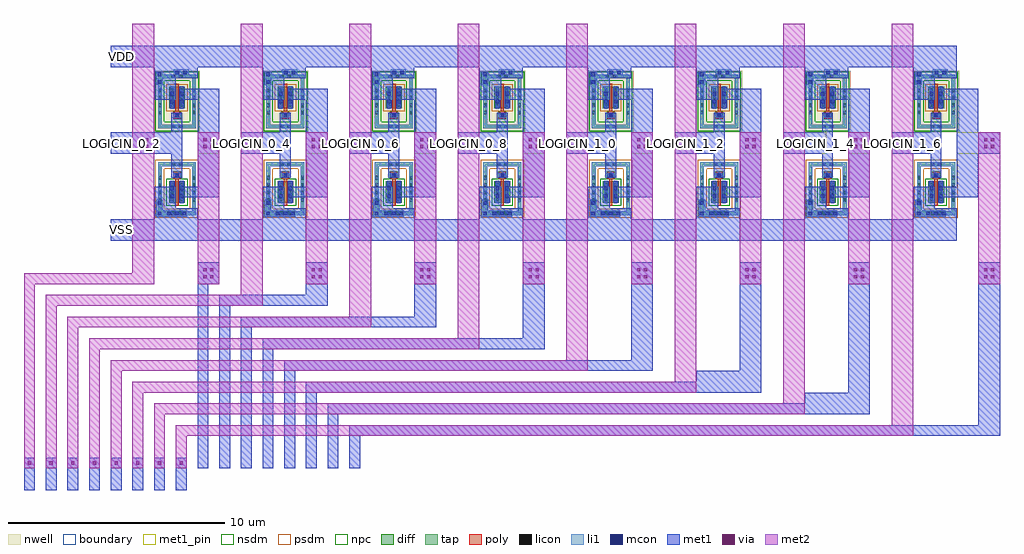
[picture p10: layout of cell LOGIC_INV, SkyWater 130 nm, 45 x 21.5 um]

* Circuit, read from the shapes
.subckt LOGIC_INV LOGICIN_0_2 LOGICIN_0_4 LOGICIN_0_6 LOGICIN_0_8 LOGICIN_1_0 LOGICIN_1_2 LOGICIN_1_4 LOGICIN_1_6 VDD VSS Z_LOGICIN_0_2 Z_LOGICIN_0_4 Z_LOGICIN_0_6 Z_LOGICIN_0_8 Z_LOGICIN_1_0 Z_LOGICIN_1_2 Z_LOGICIN_1_4 Z_LOGICIN_1_6
XM1 Z_LOGICIN_0_2 LOGICIN_0_2 VSS VSS sky130_fd_pr__nfet_01v8 w=1 l=0.15
XM2 Z_LOGICIN_0_4 LOGICIN_0_4 VSS VSS sky130_fd_pr__nfet_01v8 w=1 l=0.15
XM3 Z_LOGICIN_0_6 LOGICIN_0_6 VSS VSS sky130_fd_pr__nfet_01v8 w=1 l=0.15
XM4 Z_LOGICIN_0_8 LOGICIN_0_8 VSS VSS sky130_fd_pr__nfet_01v8 w=1 l=0.15
XM5 Z_LOGICIN_1_0 LOGICIN_1_0 VSS VSS sky130_fd_pr__nfet_01v8 w=1 l=0.15
XM6 Z_LOGICIN_1_2 LOGICIN_1_2 VSS VSS sky130_fd_pr__nfet_01v8 w=1 l=0.15
XM7 Z_LOGICIN_1_4 LOGICIN_1_4 VSS VSS sky130_fd_pr__nfet_01v8 w=1 l=0.15
XM8 Z_LOGICIN_1_6 LOGICIN_1_6 VSS VSS sky130_fd_pr__nfet_01v8 w=1 l=0.15
XM9 Z_LOGICIN_0_2 LOGICIN_0_2 VDD VDD sky130_fd_pr__pfet_01v8 w=1 l=0.15
XM10 Z_LOGICIN_0_4 LOGICIN_0_4 VDD VDD sky130_fd_pr__pfet_01v8 w=1 l=0.15
XM11 Z_LOGICIN_0_6 LOGICIN_0_6 VDD VDD sky130_fd_pr__pfet_01v8 w=1 l=0.15
XM12 Z_LOGICIN_0_8 LOGICIN_0_8 VDD VDD sky130_fd_pr__pfet_01v8 w=1 l=0.15
XM13 Z_LOGICIN_1_0 LOGICIN_1_0 VDD VDD sky130_fd_pr__pfet_01v8 w=1 l=0.15
XM14 Z_LOGICIN_1_2 LOGICIN_1_2 VDD VDD sky130_fd_pr__pfet_01v8 w=1 l=0.15
XM15 Z_LOGICIN_1_4 LOGICIN_1_4 VDD VDD sky130_fd_pr__pfet_01v8 w=1 l=0.15
XM16 Z_LOGICIN_1_6 LOGICIN_1_6 VDD VDD sky130_fd_pr__pfet_01v8 w=1 l=0.15
.ends

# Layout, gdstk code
import gdstk
lib = gdstk.Library(unit=1e-6, precision=1e-09)
def R(c, l, rs):  # rectangles x0, y0, x1, y1
    for r in rs: c.add(gdstk.rectangle(r[:2], r[2:], *l))
def A(c, l, x, y, w, h, nx, ny, dx, dy):  # array of equal rectangles
    R(c, l, [(x+i*dx, y+j*dy, x+i*dx+w, y+j*dy+h) for i in range(nx) for j in range(ny)])
nwell = (64, 20)
diff = (65, 20)
tap = (65, 44)
poly = (66, 20)
licon = (66, 44)
li1 = (67, 20)
mcon = (67, 44)
met1_pin = (68, 16)
met1 = (68, 20)
via = (68, 44)
met2 = (69, 20)
nsdm = (93, 44)
psdm = (94, 20)
npc = (95, 20)
boundary = (235, 4)

sky130_fd_pr__nfet_01v8_ = lib.new_cell('sky130_fd_pr__nfet_01v8_64Z3AY')
R(sky130_fd_pr__nfet_01v8_, diff, [(-0.365,-0.655,0.365,0.345)])
R(sky130_fd_pr__nfet_01v8_, tap, [(-0.875,-1.215,0.875,-1.045), (-0.875,-1.045,-0.705,1.045), (0.705,-1.045,0.875,1.045), (-0.875,1.045,0.875,1.215)])
R(sky130_fd_pr__nfet_01v8_, poly, [(-0.075,-0.785,0.075,0.455), (-0.165,0.455,0.165,0.785)])
A(sky130_fd_pr__nfet_01v8_, licon, -0.875, -0.595, 0.17, 0.17, 1, 4, 0, 0.34)
A(sky130_fd_pr__nfet_01v8_, licon, 0.705, -0.595, 0.17, 0.17, 1, 4, 0, 0.34)
A(sky130_fd_pr__nfet_01v8_, licon, -0.305, -0.58, 0.17, 0.17, 1, 3, 0, 0.34)
A(sky130_fd_pr__nfet_01v8_, licon, 0.135, -0.58, 0.17, 0.17, 1, 3, 0, 0.34)
R(sky130_fd_pr__nfet_01v8_, licon, [(-0.255,-1.215,-0.085,-1.045), (0.085,-1.215,0.255,-1.045), (-0.085,0.535,0.085,0.705), (-0.255,1.045,-0.085,1.215), (0.085,1.045,0.255,1.215)])
R(sky130_fd_pr__nfet_01v8_, li1, [(-0.875,-1.215,0.875,-1.045), (-0.875,-1.045,-0.705,1.045), (0.705,-1.045,0.875,1.045), (-0.305,-0.675,-0.135,0.365), (0.135,-0.675,0.305,0.365), (-0.165,0.535,0.165,0.705), (-0.875,1.045,0.875,1.215)])
R(sky130_fd_pr__nfet_01v8_, mcon, [(-0.305,-0.42,-0.135,-0.25), (0.135,-0.42,0.305,-0.25), (-0.305,-0.06,-0.135,0.11), (0.135,-0.06,0.305,0.11), (-0.085,0.535,0.085,0.705)])
R(sky130_fd_pr__nfet_01v8_, met1, [(-0.335,-0.655,-0.105,0.345), (0.105,-0.655,0.335,0.345), (-0.145,0.505,0.145,0.735)])
R(sky130_fd_pr__nfet_01v8_, nsdm, [(-0.49,-0.78,0.49,0.47)])
R(sky130_fd_pr__nfet_01v8_, psdm, [(-1,-1.34,1,-0.92), (-1,-0.92,-0.58,0.92), (0.58,-0.92,1,0.92), (-1,0.92,1,1.34)])
R(sky130_fd_pr__nfet_01v8_, npc, [(-0.185,0.435,0.185,0.805)])
R(sky130_fd_pr__nfet_01v8_, boundary, [(-0.79,-1.13,0.79,1.13)])

sky130_fd_pr__pfet_01v8_ = lib.new_cell('sky130_fd_pr__pfet_01v8_LGS3BL')
R(sky130_fd_pr__pfet_01v8_, nwell, [(-1.055,-1.42,1.055,1.42)])
R(sky130_fd_pr__pfet_01v8_, diff, [(-0.365,-0.32,0.365,0.68)])
R(sky130_fd_pr__pfet_01v8_, tap, [(-0.875,-1.24,0.875,-1.07), (-0.875,-1.07,-0.705,1.07), (0.705,-1.07,0.875,1.07), (-0.875,1.07,0.875,1.24)])
R(sky130_fd_pr__pfet_01v8_, poly, [(-0.165,-0.805,0.165,-0.475), (-0.075,-0.475,0.075,0.81)])
A(sky130_fd_pr__pfet_01v8_, licon, -0.875, -0.595, 0.17, 0.17, 1, 4, 0, 0.34)
A(sky130_fd_pr__pfet_01v8_, licon, 0.705, -0.595, 0.17, 0.17, 1, 4, 0, 0.34)
A(sky130_fd_pr__pfet_01v8_, licon, -0.305, -0.245, 0.17, 0.17, 1, 3, 0, 0.34)
A(sky130_fd_pr__pfet_01v8_, licon, 0.135, -0.245, 0.17, 0.17, 1, 3, 0, 0.34)
R(sky130_fd_pr__pfet_01v8_, licon, [(-0.255,-1.24,-0.085,-1.07), (0.085,-1.24,0.255,-1.07), (-0.085,-0.725,0.085,-0.555), (-0.255,1.07,-0.085,1.24), (0.085,1.07,0.255,1.24)])
R(sky130_fd_pr__pfet_01v8_, li1, [(-0.875,-1.24,0.875,-1.07), (-0.875,-1.07,-0.705,1.07), (0.705,-1.07,0.875,1.07), (-0.165,-0.725,0.165,-0.555), (-0.305,-0.34,-0.135,0.7), (0.135,-0.34,0.305,0.7), (-0.875,1.07,0.875,1.24)])
R(sky130_fd_pr__pfet_01v8_, mcon, [(-0.085,-0.725,0.085,-0.555), (-0.305,-0.085,-0.135,0.085), (0.135,-0.085,0.305,0.085), (-0.305,0.275,-0.135,0.445), (0.135,0.275,0.305,0.445)])
R(sky130_fd_pr__pfet_01v8_, met1, [(-0.145,-0.755,0.145,-0.525), (-0.335,-0.32,-0.105,0.68), (0.105,-0.32,0.335,0.68)])
R(sky130_fd_pr__pfet_01v8_, nsdm, [(-1,-1.365,1,-0.945), (-1,-0.945,-0.58,0.945), (0.58,-0.945,1,0.945), (-1,0.945,1,1.365)])
R(sky130_fd_pr__pfet_01v8_, psdm, [(-0.49,-0.445,0.49,0.805)])
R(sky130_fd_pr__pfet_01v8_, npc, [(-0.185,-0.825,0.185,-0.455)])
R(sky130_fd_pr__pfet_01v8_, boundary, [(-0.79,-1.155,0.79,1.155)])

inv_x1 = lib.new_cell('inv_x1')
R(inv_x1, li1, [(2.1,-5.9,3.5,-5.6), (2.1,-5.6,2.4,-5.1), (2.1,0.2,2.4,0.8), (2.9,0.6,3.6,0.9)])
A(inv_x1, mcon, 2.6, -5.835, 0.17, 0.17, 3, 1, 0.36, 0)
R(inv_x1, mcon, [(2.165,-5.835,2.335,-5.665), (2.165,-5.34,2.335,-5.17), (2.165,0.235,2.335,0.405), (2.165,0.595,2.335,0.765), (2.985,0.665,3.155,0.835), (3.345,0.665,3.515,0.835)])
A(inv_x1, met1_pin, 1, -7, 1, 1, 1, 3, 0, 4)
R(inv_x1, met1_pin, [(4,-3,5,-2)])
R(inv_x1, met1, [(1,-7,4,-6), (2,-6,4,-5.5), (2,-5.5,3,-4.5), (3.2,-5,5,-4.5), (4,-4.5,5,-0.5), (2.8,-4.1,3.3,-3), (1,-3,3.3,-2), (2.8,-2,3.3,-1.1), (2,-0.5,3,0.5), (3.2,-0.5,5,0), (2,0.5,4,1), (1,1,4,2)])
inv_x1.add(gdstk.Reference(sky130_fd_pr__nfet_01v8_, (3.055,-4.605)))
inv_x1.add(gdstk.Reference(sky130_fd_pr__pfet_01v8_, (3.055,-0.58)))
inv_x1.add(gdstk.Label('VDD', (1.5,1.5), layer=68, texttype=5))
inv_x1.add(gdstk.Label('VSS', (1.5,-6.5), layer=68, texttype=5))
inv_x1.add(gdstk.Label('INV_OUT', (4.5,-2.5), layer=68, texttype=5))
inv_x1.add(gdstk.Label('INV_IN', (1.5,-2.5), layer=68, texttype=5))

logic_inv = lib.new_cell('LOGIC_INV')
A(logic_inv, met1_pin, 2, -37, 1, 1, 1, 3, 0, 4)
A(logic_inv, met1_pin, 28, -33, 1, 1, 3, 1, 3, 0)
R(logic_inv, met1_pin, [(6,-33,7,-32), (8,-33,9,-32), (11,-33,12,-32), (13,-33,14,-32), (16,-33,17,-32), (18,-33,19,-32), (21,-33,22,-32), (23,-33,24,-32), (26,-33,27,-32), (36,-33,37,-32), (38,-33,39,-32), (42,-33,43,-32)])
A(logic_inv, met1, -2, -48.5, 0.5, 1.5, 8, 1, 1, 0)
A(logic_inv, met1, 4, -37, 4, 1, 7, 1, 5, 0)
A(logic_inv, met1, 28, -33, 1, 1, 3, 1, 3, 0)
R(logic_inv, met1, [(6,-47.5,6.5,-39), (7,-47.5,7.5,-40), (8,-47.5,8.5,-41), (9,-47.5,9.5,-42), (10,-47.5,10.5,-43), (11,-47.5,11.5,-44), (12,-47.5,12.5,-45), (13,-47.5,13.5,-46), (13,-46,43,-45.5), (42,-45.5,43,-38), (12,-45,37,-44.5), (34,-44.5,37,-44), (11,-44,32,-43.5), (36,-44,37,-38), (29,-43.5,32,-43), (10,-43,27,-42.5), (31,-43,32,-38), (26,-42.5,27,-38), (9,-42,22,-41.5), (21,-41.5,22,-38), (8,-41,17,-40.5), (16,-40.5,17,-38), (7,-40,12,-39.5), (11,-39.5,12,-38), (6,-39,7,-38), (2,-37,3,-36), (2,-33,3,-32), (6,-33,7,-32), (8,-33,9,-32), (11,-33,12,-32), (13,-33,14,-32), (16,-33,17,-32), (18,-33,19,-32), (21,-33,22,-32), (23,-33,24,-32), (26,-33,27,-32), (36,-33,37,-32), (38,-33,39,-32), (42,-33,43,-32), (3.1,-32.9,3.9,-32.1), (33.1,-32.9,33.9,-32.1), (2,-29,39,-28)])
A(logic_inv, via, -1.825, -47.325, 0.15, 0.15, 8, 1, 1, 0)
R(logic_inv, via, [(6.265,-38.735,6.415,-38.585), (6.585,-38.735,6.735,-38.585), (11.265,-38.735,11.415,-38.585), (11.585,-38.735,11.735,-38.585), (16.265,-38.735,16.415,-38.585), (16.585,-38.735,16.735,-38.585), (21.265,-38.735,21.415,-38.585), (21.585,-38.735,21.735,-38.585), (26.265,-38.735,26.415,-38.585), (26.585,-38.735,26.735,-38.585), (31.265,-38.735,31.415,-38.585), (31.585,-38.735,31.735,-38.585), (36.265,-38.735,36.415,-38.585), (36.585,-38.735,36.735,-38.585), (42.265,-38.735,42.415,-38.585), (42.585,-38.735,42.735,-38.585), (6.265,-38.415,6.415,-38.265), (6.585,-38.415,6.735,-38.265), (11.265,-38.415,11.415,-38.265), (11.585,-38.415,11.735,-38.265), (16.265,-38.415,16.415,-38.265), (16.585,-38.415,16.735,-38.265), (21.265,-38.415,21.415,-38.265), (21.585,-38.415,21.735,-38.265), (26.265,-38.415,26.415,-38.265), (26.585,-38.415,26.735,-38.265), (31.265,-38.415,31.415,-38.265), (31.585,-38.415,31.735,-38.265), (36.265,-38.415,36.415,-38.265), (36.585,-38.415,36.735,-38.265), (42.265,-38.415,42.415,-38.265), (42.585,-38.415,42.735,-38.265), (3.265,-32.735,3.415,-32.585), (3.585,-32.735,3.735,-32.585), (6.265,-32.735,6.415,-32.585), (6.585,-32.735,6.735,-32.585), (8.265,-32.735,8.415,-32.585), (8.585,-32.735,8.735,-32.585), (11.265,-32.735,11.415,-32.585), (11.585,-32.735,11.735,-32.585), (13.265,-32.735,13.415,-32.585), (13.585,-32.735,13.735,-32.585), (16.265,-32.735,16.415,-32.585), (16.585,-32.735,16.735,-32.585), (18.265,-32.735,18.415,-32.585), (18.585,-32.735,18.735,-32.585), (21.265,-32.735,21.415,-32.585), (21.585,-32.735,21.735,-32.585), (23.265,-32.735,23.415,-32.585), (23.585,-32.735,23.735,-32.585), (26.265,-32.735,26.415,-32.585), (26.585,-32.735,26.735,-32.585), (28.265,-32.735,28.415,-32.585), (28.585,-32.735,28.735,-32.585), (31.265,-32.735,31.415,-32.585), (31.585,-32.735,31.735,-32.585), (33.265,-32.735,33.415,-32.585), (33.585,-32.735,33.735,-32.585), (36.265,-32.735,36.415,-32.585), (36.585,-32.735,36.735,-32.585), (38.265,-32.735,38.415,-32.585), (38.585,-32.735,38.735,-32.585), (42.265,-32.735,42.415,-32.585), (42.585,-32.735,42.735,-32.585), (3.265,-32.415,3.415,-32.265), (3.585,-32.415,3.735,-32.265), (6.265,-32.415,6.415,-32.265), (6.585,-32.415,6.735,-32.265), (8.265,-32.415,8.415,-32.265), (8.585,-32.415,8.735,-32.265), (11.265,-32.415,11.415,-32.265), (11.585,-32.415,11.735,-32.265), (13.265,-32.415,13.415,-32.265), (13.585,-32.415,13.735,-32.265), (16.265,-32.415,16.415,-32.265), (16.585,-32.415,16.735,-32.265), (18.265,-32.415,18.415,-32.265), (18.585,-32.415,18.735,-32.265), (21.265,-32.415,21.415,-32.265), (21.585,-32.415,21.735,-32.265), (23.265,-32.415,23.415,-32.265), (23.585,-32.415,23.735,-32.265), (26.265,-32.415,26.415,-32.265), (26.585,-32.415,26.735,-32.265), (28.265,-32.415,28.415,-32.265), (28.585,-32.415,28.735,-32.265), (31.265,-32.415,31.415,-32.265), (31.585,-32.415,31.735,-32.265), (33.265,-32.415,33.415,-32.265), (33.585,-32.415,33.735,-32.265), (36.265,-32.415,36.415,-32.265), (36.585,-32.415,36.735,-32.265), (38.265,-32.415,38.415,-32.265), (38.585,-32.415,38.735,-32.265), (42.265,-32.415,42.415,-32.265), (42.585,-32.415,42.735,-32.265)])
A(logic_inv, met2, 6, -39, 1, 7, 7, 1, 5, 0)
R(logic_inv, met2, [(-2,-47.5,-1.5,-39), (-1,-47.5,-0.5,-40), (0,-47.5,0.5,-41), (1,-47.5,1.5,-42), (2,-47.5,2.5,-43), (3,-47.5,3.5,-44), (4,-47.5,4.5,-45), (5,-47.5,5.5,-46), (5,-46,39,-45.5), (38,-45.5,39,-27), (4,-45,34,-44.5), (33,-44.5,34,-27), (3,-44,29,-43.5), (28,-43.5,29,-27), (2,-43,24,-42.5), (23,-42.5,24,-27), (1,-42,19,-41.5), (18,-41.5,19,-27), (0,-41,14,-40.5), (13,-40.5,14,-27), (-1,-40,9,-39.5), (8,-39.5,9,-27), (-2,-39,4,-38.5), (42,-39,43,-32), (3,-38.5,4,-27)])
logic_inv.add(gdstk.Reference(inv_x1, (37,-30)))
logic_inv.add(gdstk.Reference(inv_x1, (32,-30)))
logic_inv.add(gdstk.Reference(inv_x1, (27,-30)))
logic_inv.add(gdstk.Reference(inv_x1, (22,-30)))
logic_inv.add(gdstk.Reference(inv_x1, (17,-30)))
logic_inv.add(gdstk.Reference(inv_x1, (12,-30)))
logic_inv.add(gdstk.Reference(inv_x1, (7,-30)))
logic_inv.add(gdstk.Reference(inv_x1, (2,-30)))
logic_inv.add(gdstk.Label('LOGICIN_1_6', (38.5,-32.5), layer=68, texttype=5))
logic_inv.add(gdstk.Label('Z_LOGICIN_1_6', (42.5,-32.5), layer=68, texttype=5))
logic_inv.add(gdstk.Label('Z_LOGICIN_1_4', (36.5,-32.5), layer=68, texttype=5))
logic_inv.add(gdstk.Label('LOGICIN_1_4', (34.5,-32.5), layer=68, texttype=5))
logic_inv.add(gdstk.Label('LOGICIN_1_2', (28.5,-32.5), layer=68, texttype=5))
logic_inv.add(gdstk.Label('Z_LOGICIN_1_2', (31.5,-32.5), layer=68, texttype=5))
logic_inv.add(gdstk.Label('LOGICIN_1_0', (23.5,-32.5), layer=68, texttype=5))
logic_inv.add(gdstk.Label('Z_LOGICIN_1_0', (26.5,-32.5), layer=68, texttype=5))
logic_inv.add(gdstk.Label('Z_LOGICIN_0_8', (21.5,-32.5), layer=68, texttype=5))
logic_inv.add(gdstk.Label('LOGICIN_0_8', (18.5,-32.5), layer=68, texttype=5))
logic_inv.add(gdstk.Label('Z_LOGICIN_0_6', (16.5,-32.5), layer=68, texttype=5))
logic_inv.add(gdstk.Label('LOGICIN_0_6', (13.5,-32.5), layer=68, texttype=5))
logic_inv.add(gdstk.Label('LOGICIN_0_4', (8.5,-32.5), layer=68, texttype=5))
logic_inv.add(gdstk.Label('Z_LOGICIN_0_4', (11.5,-32.5), layer=68, texttype=5))
logic_inv.add(gdstk.Label('LOGICIN_0_2', (2.5,-32.5), layer=68, texttype=5))
logic_inv.add(gdstk.Label('Z_LOGICIN_0_2', (6.5,-32.5), layer=68, texttype=5))
logic_inv.add(gdstk.Label('VDD', (2.5,-28.5), layer=68, texttype=5))
logic_inv.add(gdstk.Label('VSS', (2.5,-36.5), layer=68, texttype=5))

lib.write_gds('LOGIC_INV.gds')
